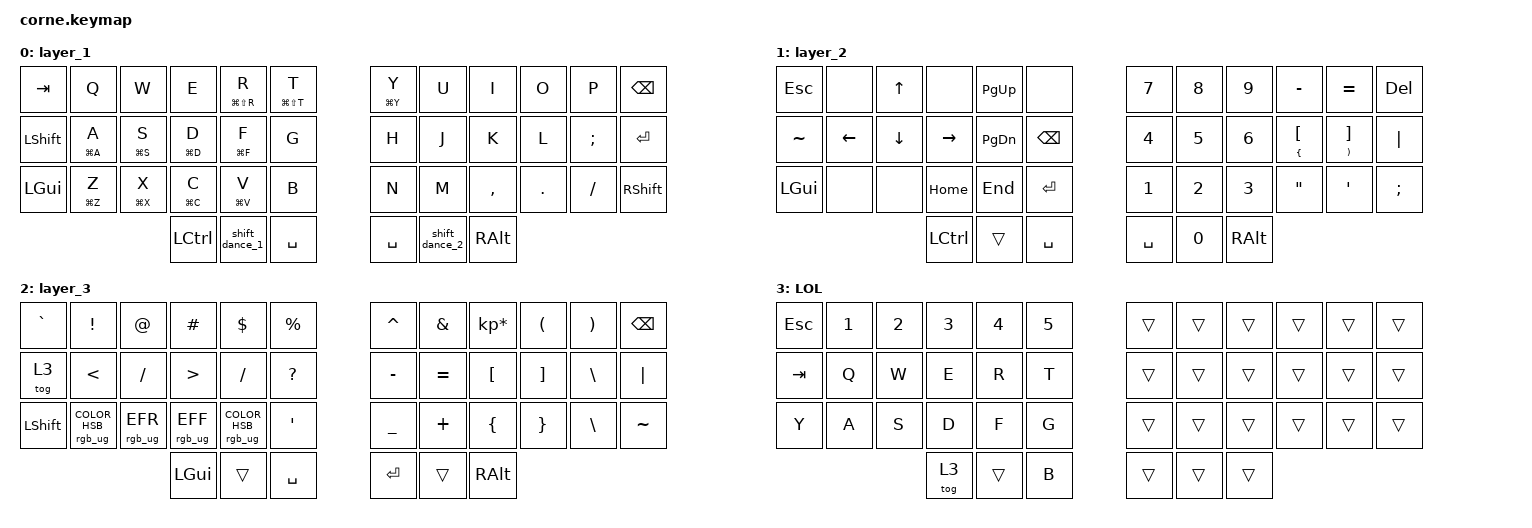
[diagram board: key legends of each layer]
/*
 * Copyright (c) 2020 The ZMK Contributors
 *
 * SPDX-License-Identifier: MIT
 */

#include <behaviors.dtsi>
#include <dt-bindings/zmk/keys.h>
#include <dt-bindings/zmk/rgb.h>

&led_strip { chain-length = <27>; };

/ {
    behaviors {
        hold: hold {
            compatible = "zmk,behavior-hold-tap";
            label = "HOLD";
            bindings = <&kp>, <&kp>;

            #binding-cells = <2>;
            tapping-term-ms = <900>;
            flavor = "tap-preferred";
            hold-trigger-key-positions = <27 28 25 26 6 14 16 15 5 13 21 22>;
        };

        shift_dance_2: shift_dance_2 {
            compatible = "zmk,behavior-tap-dance";
            label = "SHIFT_DANCE_2";
            #binding-cells = <0>;
            bindings = <&mo 2>, <&kp RIGHT_SHIFT>;

            tapping-term-ms = <300>;
        };

        shift_dance_1: shift_dance_1 {
            compatible = "zmk,behavior-tap-dance";
            label = "SHIFT_DANCE_1";
            #binding-cells = <0>;
            bindings = <&mo 1>, <&kp RIGHT_SHIFT>;

            tapping-term-ms = <300>;
        };
    };

    keymap {
        compatible = "zmk,keymap";

        layer_1 {
            // -----------------------------------------------------------------------------------------
            // |  TAB |  Q  |  W  |  E  |  R  |  T  |   |  Y  |  U   |  I  |  O  |  P  | BKSP |
            // | CTRL |  A  |  S  |  D  |  F  |  G  |   |  H  |  J   |  K  |  L  |  ;  |  '   |
            // | SHFT |  Z  |  X  |  C  |  V  |  B  |   |  N  |  M   |  ,  |  .  |  /  | ESC  |
            //                    | GUI | LWR | SPC |   | ENT | RSE  | ALT |

            bindings = <
&kp TAB         &kp Q          &kp W          &kp E          &hold LG(LS(R)) R  &hold LG(LS(T)) T    &hold LG(Y) Y  &kp U           &kp I          &kp O    &kp P     &kp BSPC
&kp LEFT_SHIFT  &hold LG(A) A  &hold LG(S) S  &hold LG(D) D  &hold LG(F) F      &kp G                &kp H          &kp J           &kp K          &kp L    &kp SEMI  &kp ENTER
&kp LGUI        &hold LG(Z) Z  &hold LG(X) X  &hold LG(C) C  &hold LG(V) V      &kp B                &kp N          &kp M           &kp COMMA      &kp DOT  &kp FSLH  &kp RIGHT_SHIFT
                                              &kp LCTRL      &shift_dance_1     &kp SPACE            &kp SPACE      &shift_dance_2  &kp RIGHT_ALT
            >;
        };

        layer_2 {
            // -----------------------------------------------------------------------------------------
            // |  TAB |  1  |  2  |  3  |  4  |  5  |   |  6  |  7  |  8  |  9  |  0  | BKSP |
            // | BTCLR| BT1 | BT2 | BT3 | BT4 | BT5 |   | LFT | DWN |  UP | RGT |     |      |
            // | SHFT |     |     |     |     |     |   |     |     |     |     |     |      |
            //                    | GUI |     | SPC |   | ENT |     | ALT |

            bindings = <
&kp ESC       &none     &kp UP    &none      &kp PAGE_UP    &none            &kp NUMBER_7  &kp NUMBER_8  &kp NUMBER_9  &kp MINUS                      &kp EQUAL                              &kp DELETE
&kp TILDE     &kp LEFT  &kp DOWN  &kp RIGHT  &kp PAGE_DOWN  &kp BACKSPACE    &kp NUMBER_4  &kp NUMBER_5  &kp NUMBER_6  &hold LEFT_BRACE LEFT_BRACKET  &hold RIGHT_PARENTHESIS RIGHT_BRACKET  &kp PIPE
&kp LEFT_GUI  &none     &none     &kp HOME   &kp END        &kp ENTER        &kp NUMBER_1  &kp NUMBER_2  &kp NUMBER_3  &kp DOUBLE_QUOTES              &kp SINGLE_QUOTE                       &kp SEMI
                                  &kp LCTRL  &trans         &kp SPACE        &kp SPACE     &kp NUMBER_0  &kp RALT
            >;
        };

        layer_3 {
            // -----------------------------------------------------------------------------------------
            // |  TAB |  !  |  @  |  #  |  $  |  %  |   |  ^  |  &  |  *  |  (  |  )  | BKSP |
            // | CTRL |     |     |     |     |     |   |  -  |  =  |  [  |  ]  |  \  |  `   |
            // | SHFT |     |     |     |     |     |   |  _  |  +  |  {  |  }  | "|" |  ~   |
            //                    | GUI |     | SPC |   | ENT |     | ALT |

            bindings = <
&kp GRAVE  &kp EXCL                        &kp AT           &kp HASH          &kp DLLR                         &kp PRCNT           &kp CARET  &kp AMPS   &kp KP_MULTIPLY  &kp LPAR  &kp RPAR       &kp BSPC
&tog 3     &kp LESS_THAN                   &kp SLASH        &kp GREATER_THAN  &kp SLASH                        &kp QUESTION        &kp MINUS  &kp EQUAL  &kp LBKT         &kp RBKT  &kp BSLH       &kp PIPE
&kp LSHFT  &rgb_ug RGB_COLOR_HSB(0,0,100)  &rgb_ug RGB_EFR  &rgb_ug RGB_EFF   &rgb_ug RGB_COLOR_HSB(0,100,50)  &kp SINGLE_QUOTE    &kp UNDER  &kp PLUS   &kp LBRC         &kp RBRC  &kp BACKSLASH  &kp TILDE
                                                            &kp LGUI          &trans                           &kp SPACE           &kp RET    &trans     &kp RALT
            >;
        };

        LOL {
            bindings = <
&kp ESC  &kp NUMBER_1  &kp NUMBER_2  &kp NUMBER_3  &kp NUMBER_4  &kp N5    &trans  &trans  &trans  &trans  &trans  &trans
&kp TAB  &kp Q         &kp W         &kp E         &kp R         &kp T     &trans  &trans  &trans  &trans  &trans  &trans
&kp Y    &kp A         &kp S         &kp D         &kp F         &kp G     &trans  &trans  &trans  &trans  &trans  &trans
                                     &tog 3        &trans        &kp B     &trans  &trans  &trans
            >;
        };
    };

    conditional_layers { compatible = "zmk,conditional-layers"; };
};
